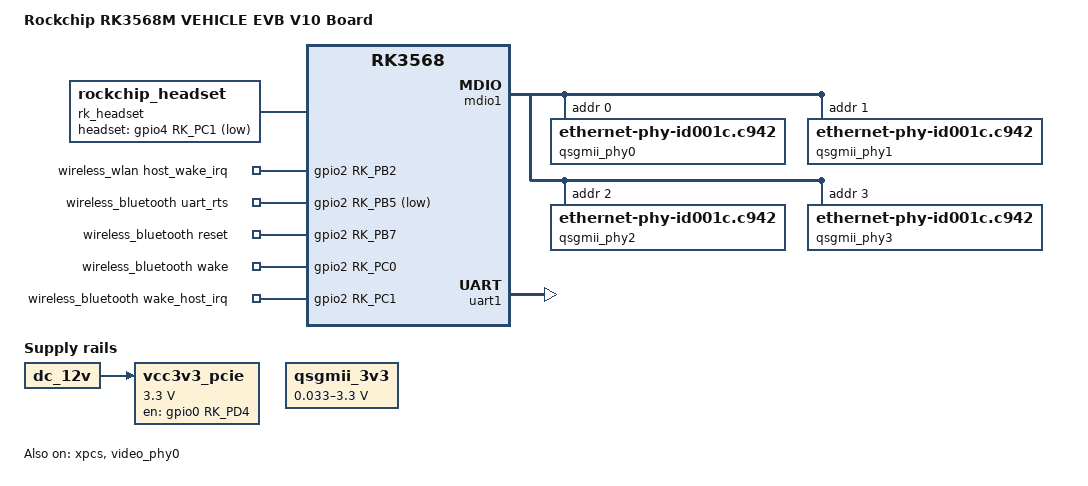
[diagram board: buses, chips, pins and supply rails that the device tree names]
// SPDX-License-Identifier: (GPL-2.0+ OR MIT)
/*
 * Copyright (c) 2020 Rockchip Electronics Co., Ltd.
 *
 */

/dts-v1/;

#include <dt-bindings/gpio/gpio.h>
#include <dt-bindings/pinctrl/rockchip.h>
#include "rk3568.dtsi"
#include "rk3568m-vehicle-evb.dtsi"

/ {
	model = "Rockchip RK3568M VEHICLE EVB V10 Board";
	compatible = "rockchip,rk3568m-vehicle-evb-v10", "rockchip,rk3568";

	rk_headset: rk-headset {
		compatible = "rockchip_headset";
		headset_gpio = <&gpio4 RK_PC1 GPIO_ACTIVE_LOW>;
		pinctrl-names = "default";
		pinctrl-0 = <&hp_det>;
	};

	vcc3v3_pcie: vcc3v3-pcie {
		compatible = "regulator-fixed";
		regulator-name = "vcc3v3_pcie";
		regulator-min-microvolt = <3300000>;
		regulator-max-microvolt = <3300000>;
		enable-active-high;
		gpio = <&gpio0 RK_PD4 GPIO_ACTIVE_HIGH>;
		startup-delay-us = <5000>;
		vin-supply = <&dc_12v>;
	};

	qsgmii_3v3: qsgmii-3v3 {
		compatible = "regulator-gpio";
		regulator-name = "qsgmii_3v3";
		regulator-min-microvolt = <0100000>;
		regulator-max-microvolt = <3300000>;
		gpios = <&gpio0 RK_PB7 GPIO_ACTIVE_HIGH>;
		gpios-states = <0x1>;
		states = <0100000 0x0
			  3300000 0x1>;
	};

	wireless_wlan: wireless-wlan {
		compatible = "wlan-platdata";
		rockchip,grf = <&grf>;
		wifi_chip_type = "ap6398s";
		pinctrl-names = "default";
		pinctrl-0 = <&wifi_host_wake_irq>;
		WIFI,host_wake_irq = <&gpio2 RK_PB2 GPIO_ACTIVE_HIGH>;
		status = "okay";
	};

	wireless_bluetooth: wireless-bluetooth {
		compatible = "bluetooth-platdata";
		clocks = <&pmucru CLK_RTC_32K>;
		//wifi-bt-power-toggle;
		uart_rts_gpios = <&gpio2 RK_PB5 GPIO_ACTIVE_LOW>;
		pinctrl-names = "default", "rts_gpio";
		pinctrl-0 = <&uart1m0_rtsn>;
		pinctrl-1 = <&uart1_gpios>;
		BT,reset_gpio    = <&gpio2 RK_PB7 GPIO_ACTIVE_HIGH>;
		BT,wake_gpio     = <&gpio2 RK_PC0 GPIO_ACTIVE_HIGH>;
		BT,wake_host_irq = <&gpio2 RK_PC1 GPIO_ACTIVE_HIGH>;
		status = "okay";
	};
};

&xpcs {
	status = "okay";
};

&gmac1 {
	phy-supply = <&qsgmii_3v3>;
	phy-mode = "qsgmii";

	snps,reset-gpio = <&gpio3 RK_PD5 GPIO_ACTIVE_LOW>;
	snps,reset-active-low;
	/* Reset time is 20ms, 100ms for rtl8211f */
	snps,reset-delays-us = <0 20000 100000>;

	assigned-clocks = <&cru SCLK_GMAC1_RX_TX>;
	assigned-clock-parents = <&gmac1_xpcsclk>;

	pinctrl-names = "default";
	pinctrl-0 = <&gmac1m1_miim>;

	power-domains = <&power RK3568_PD_PIPE>;
	phy-handle = <&qsgmii_phy1>;

	status = "disabled";
};

&mdio1 {
	qsgmii_phy0: phy@0 {
		compatible = "ethernet-phy-id001c.c942", "ethernet-phy-ieee802.3-c22";
		reg = <0x0>;
	};
	qsgmii_phy1: phy@1 {
		compatible = "ethernet-phy-id001c.c942", "ethernet-phy-ieee802.3-c22";
		reg = <0x1>;
	};
	qsgmii_phy2: phy@2 {
		compatible = "ethernet-phy-id001c.c942", "ethernet-phy-ieee802.3-c22";
		reg = <0x2>;
	};
	qsgmii_phy3: phy@3 {
		compatible = "ethernet-phy-id001c.c942", "ethernet-phy-ieee802.3-c22";
		reg = <0x3>;
	};
};

&video_phy0 {
	status = "okay";
};

&video_phy1 {
	status = "disabled";
};

&pcie2x1 {
	status = "disabled";
	reset-gpios = <&gpio1 RK_PB2 GPIO_ACTIVE_HIGH>;
	vpcie3v3-supply = <&vcc3v3_pcie>;
};

&pcie30phy {
	status = "disabled";
};

&pcie3x2 {
	status = "disabled";
	reset-gpios = <&gpio0 RK_PC6 GPIO_ACTIVE_HIGH>;
	vpcie3v3-supply = <&vcc3v3_pcie>;
};

&pinctrl {
	headphone {
		hp_det: hp-det {
			rockchip,pins = <4 RK_PC1 RK_FUNC_GPIO &pcfg_pull_down>;
		};
	};
};

&uart1 {
	status = "okay";
	pinctrl-names = "default";
	pinctrl-0 = <&uart1m0_xfer &uart1m0_ctsn>;
};
